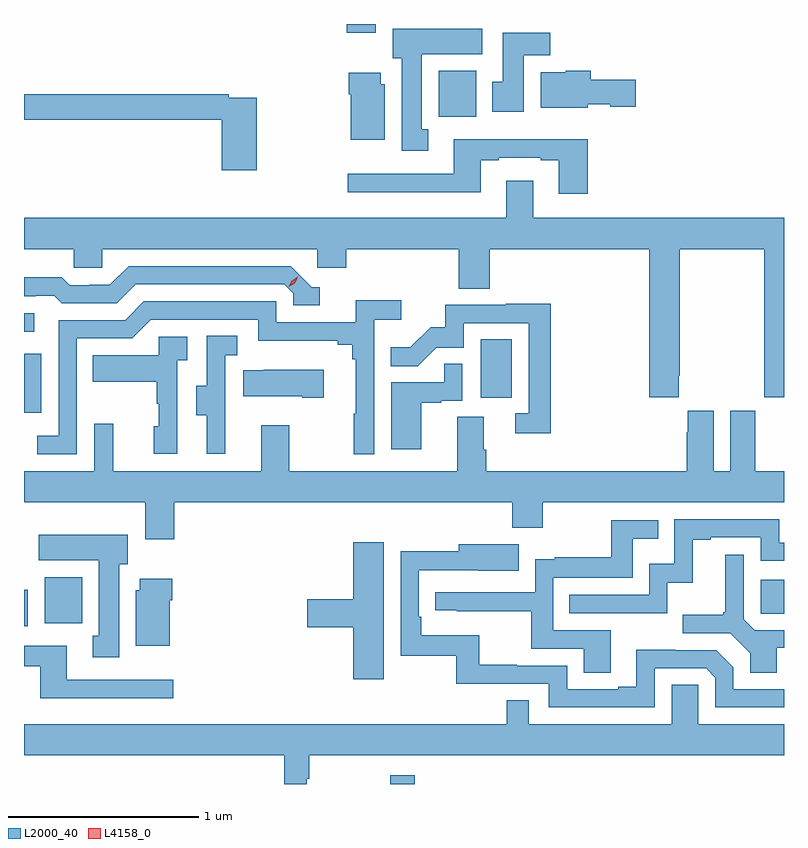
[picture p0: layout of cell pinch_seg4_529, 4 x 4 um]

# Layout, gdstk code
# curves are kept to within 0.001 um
import gdstk
lib = gdstk.Library(unit=1e-6, precision=1e-09)
def R(c, l, rs):  # rectangles x0, y0, x1, y1
    for r in rs: c.add(gdstk.rectangle(r[:2], r[2:], *l))
def P(c, l, *ps):  # polygons
    for p in ps: c.add(gdstk.Polygon(p, *l))
L2000_40 = (2000, 40)
L4158_0 = (4158, 0)

pinch_seg4_529 = lib.new_cell('pinch_seg4_529')
R(pinch_seg4_529, L2000_40, [(1129.476,772.693,1129.604,772.738), (1127.548,773.523,1127.569,773.716), (1127.657,773.54,1127.854,773.782), (1131.426,773.589,1131.548,773.769), (1127.548,774.648,1127.64,774.958), (1129.952,774.726,1130.116,775.033), (1127.548,775.074,1127.602,775.17), (1129.73,776.204,1129.927,776.446), (1129.247,776.646,1129.399,776.693)])
P(pinch_seg4_529, L2000_40, [(1129.675,776.138),(1129.642,776.138),(1129.642,776.534),(1129.96,776.534),(1129.96,776.668),(1129.49,776.668),(1129.49,776.514),(1129.535,776.514),(1129.535,776.025),(1129.675,776.025)],
  [(1130.179,776.528),(1130.318,776.528),(1130.318,776.647),(1130.069,776.647),(1130.069,776.388),(1130.012,776.388),(1130.012,776.232),(1130.179,776.232)],
  [(1130.514,776.27),(1130.634,776.27),(1130.634,776.258),(1130.767,776.258),(1130.767,776.4),(1130.531,776.4),(1130.531,776.446),(1130.4,776.446),(1130.4,776.44),(1130.267,776.44),(1130.267,776.252),(1130.514,776.252)],
  [(1129.447,776.376),(1129.426,776.376),(1129.426,776.437),(1129.256,776.437),(1129.256,776.324),(1129.268,776.324),(1129.268,776.084),(1129.447,776.084)],
  [(1128.773,776.304),(1128.626,776.304),(1128.626,776.324),(1127.548,776.324),(1127.548,776.188),(1128.59,776.188),(1128.59,775.923),(1128.773,775.923)],
  [(1130.516,776.086),(1129.811,776.086),(1129.811,775.905),(1129.251,775.905),(1129.251,775.808),(1129.951,775.808),(1129.951,775.977),(1130.047,775.977),(1130.047,775.989),(1130.267,775.989),(1130.267,775.977),(1130.363,775.977),(1130.363,775.8),(1130.516,775.8)],
  [(1130.995,774.841),(1131,774.841),(1131,775.508),(1131.445,775.508),(1131.445,774.729),(1131.548,774.729),(1131.548,775.672),(1130.227,775.672),(1130.227,775.867),(1130.087,775.867),(1130.087,775.672),(1127.548,775.672),(1127.548,775.508),(1127.811,775.508),(1127.811,775.41),(1127.961,775.41),(1127.961,775.508),(1129.092,775.508),(1129.092,775.41),(1129.244,775.41),(1129.244,775.508),(1129.835,775.508),(1129.835,775.3),(1130,775.3),(1130,775.508),(1130.84,775.508),(1130.84,774.729),(1130.995,774.729)],
  [(1129.105,775.308),(1129.062,775.308),(1128.951,775.419),(1128.098,775.419),(1127.999,775.32),(1127.892,775.32),(1127.892,775.317),(1127.789,775.317),(1127.747,775.36),(1127.548,775.36),(1127.548,775.26),(1127.609,775.26),(1127.609,775.263),(1127.708,775.263),(1127.747,775.224),(1128.036,775.224),(1128.135,775.323),(1128.918,775.323),(1128.966,775.275),(1128.966,775.212),(1129.105,775.212)],
  [(1127.826,775.038),(1128.117,775.038),(1128.216,775.137),(1128.78,775.137),(1128.78,775.025),(1129.199,775.025),(1129.199,775.006),(1129.276,775.006),(1129.276,774.929),(1129.295,774.929),(1129.295,774.641),(1129.284,774.641),(1129.284,774.429),(1129.392,774.429),(1129.392,775.136),(1129.534,775.136),(1129.534,775.238),(1129.295,775.238),(1129.295,775.122),(1128.876,775.122),(1128.876,775.233),(1128.179,775.233),(1128.08,775.134),(1127.73,775.134),(1127.73,774.525),(1127.617,774.525),(1127.617,774.429),(1127.826,774.429)],
  [(1130.321,775.22),(1130.083,775.22),(1130.083,775.215),(1129.765,775.215),(1129.765,775.098),(1129.688,775.098),(1129.581,774.991),(1129.477,774.991),(1129.477,774.892),(1129.621,774.892),(1129.719,774.99),(1129.863,774.99),(1129.863,775.119),(1130.205,775.119),(1130.205,774.645),(1130.133,774.645),(1130.133,774.54),(1130.321,774.54)],
  [(1128.608,774.645),(1128.606,774.645),(1128.606,774.949),(1128.67,774.949),(1128.67,775.052),(1128.51,775.052),(1128.51,774.789),(1128.455,774.789),(1128.455,774.634),(1128.509,774.634),(1128.509,774.432),(1128.608,774.432)],
  [(1128.354,774.923),(1128.406,774.923),(1128.406,775.047),(1128.258,775.047),(1128.258,774.949),(1127.911,774.949),(1127.911,774.809),(1128.246,774.809),(1128.246,774.695),(1128.256,774.695),(1128.256,774.576),(1128.23,774.576),(1128.23,774.432),(1128.354,774.432)],
  [(1129.639,774.699),(1129.743,774.699),(1129.743,774.711),(1129.854,774.711),(1129.854,774.905),(1129.759,774.905),(1129.759,774.807),(1129.481,774.807),(1129.481,774.456),(1129.639,774.456)],
  [(1129.126,774.874),(1128.811,774.874),(1128.811,774.871),(1128.703,774.871),(1128.703,774.734),(1129.013,774.734),(1129.013,774.727),(1129.126,774.727)],
  [(1128.338,774.176),(1130.117,774.176),(1130.117,774.041),(1130.277,774.041),(1130.277,774.176),(1131.548,774.176),(1131.548,774.34),(1131.397,774.34),(1131.397,774.658),(1131.266,774.658),(1131.266,774.34),(1131.178,774.34),(1131.178,774.658),(1131.041,774.658),(1131.041,774.545),(1131.035,774.545),(1131.035,774.34),(1129.982,774.34),(1129.982,774.452),(1129.969,774.452),(1129.969,774.626),(1129.829,774.626),(1129.829,774.34),(1128.945,774.34),(1128.945,774.58),(1128.797,774.58),(1128.797,774.34),(1128.017,774.34),(1128.017,774.589),(1127.919,774.589),(1127.919,774.34),(1127.548,774.34),(1127.548,774.176),(1128.185,774.176),(1128.185,773.982),(1128.338,773.982)],
  [(1130.934,773.753),(1131.067,773.753),(1131.067,773.979),(1131.163,773.979),(1131.163,773.991),(1131.426,773.991),(1131.426,773.868),(1131.548,773.868),(1131.548,773.964),(1131.522,773.964),(1131.522,774.087),(1130.97,774.087),(1130.97,773.851),(1130.838,773.851),(1130.838,773.688),(1130.419,773.688),(1130.419,773.592),(1130.934,773.592)],
  [(1130.635,773.502),(1130.334,773.502),(1130.334,773.778),(1130.751,773.778),(1130.751,773.984),(1130.885,773.984),(1130.885,774.081),(1130.64,774.081),(1130.64,773.887),(1130.341,773.887),(1130.341,773.875),(1130.238,773.875),(1130.238,773.703),(1129.713,773.703),(1129.713,773.607),(1129.825,773.607),(1129.825,773.602),(1130.218,773.602),(1130.218,773.406),(1130.495,773.406),(1130.495,773.278),(1130.635,773.278)],
  [(1128.049,773.85),(1128.094,773.85),(1128.094,774.004),(1127.625,774.004),(1127.625,773.87),(1127.942,773.87),(1127.942,773.474),(1127.909,773.474),(1127.909,773.361),(1128.049,773.361)],
  [(1129.441,773.965),(1129.28,773.965),(1129.28,773.666),(1129.038,773.666),(1129.038,773.519),(1129.28,773.519),(1129.28,773.244),(1129.441,773.244)],
  [(1130.868,773.301),(1131.138,773.301),(1131.186,773.253),(1131.186,773.097),(1131.548,773.097),(1131.548,773.193),(1131.282,773.193),(1131.282,773.307),(1131.192,773.397),(1130.976,773.397),(1130.976,773.399),(1130.771,773.399),(1130.771,773.206),(1130.675,773.206),(1130.675,773.193),(1130.406,773.193),(1130.406,773.316),(1130.141,773.316),(1130.141,773.321),(1129.945,773.321),(1129.945,773.476),(1129.64,773.476),(1129.64,773.572),(1129.626,773.572),(1129.626,773.817),(1130.153,773.816),(1130.153,773.956),(1129.835,773.956),(1129.835,773.918),(1129.53,773.918),(1129.53,773.367),(1129.824,773.367),(1129.824,773.22),(1130.31,773.22),(1130.31,773.097),(1130.868,773.097)],
  [(1131.511,773.41),(1131.548,773.41),(1131.548,773.502),(1131.393,773.502),(1131.336,773.559),(1131.336,773.899),(1131.239,773.899),(1131.239,773.596),(1131.228,773.596),(1131.228,773.584),(1131.015,773.584),(1131.015,773.487),(1131.264,773.487),(1131.371,773.38),(1131.371,773.278),(1131.511,773.278)],
  [(1128.316,773.66),(1128.329,773.66),(1128.329,773.773),(1128.158,773.773),(1128.158,773.712),(1128.137,773.712),(1128.137,773.42),(1128.316,773.42)],
  [(1128.334,773.241),(1127.773,773.241),(1127.773,773.421),(1127.548,773.421),(1127.548,773.313),(1127.633,773.313),(1127.633,773.144),(1128.334,773.144)],
  [(1129.036,772.721),(1129.048,772.721),(1129.048,772.844),(1131.548,772.844),(1131.548,773.008),(1131.096,773.008),(1131.096,773.216),(1130.957,773.216),(1130.957,773.008),(1130.205,773.008),(1130.205,773.135),(1130.089,773.135),(1130.089,773.008),(1127.548,773.008),(1127.548,772.844),(1128.919,772.844),(1128.919,772.693),(1129.036,772.693)])
P(pinch_seg4_529, L4158_0, [(1128.942,775.309),(1128.942,775.309),(1128.958,775.342),(1128.989,775.362),(1128.989,775.362),(1128.989,775.361),(1128.973,775.329),(1128.942,775.309)])

lib.write_gds('pinch_seg4_529.gds')
